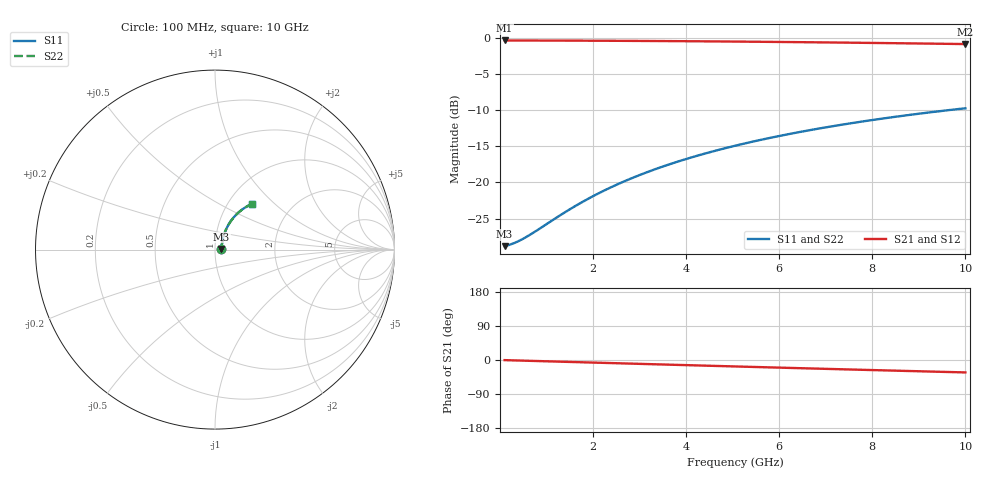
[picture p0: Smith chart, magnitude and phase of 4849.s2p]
# Hz S RI R 50.00
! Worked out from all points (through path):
!   100 points, 100 MHz to 10 GHz, reference 50 ohm
!   highest |S21| = -0.32 dB at 100 MHz (marker M1); lowest = -0.8 dB at 10 GHz (marker M2)
!   group delay of S21, straight-line fit = 9.13 ps
!   lowest |S11| = -28.8 dB at 100 MHz (marker M3), VSWR 1.08, Z = 53.7 + j0.362 ohm
!   |S11| at or under -10 dB: start of sweep to 9.608 GHz
!   |S22| runs from -28.8 to -9.7 dB; largest |S21 - S12| = 0
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1e8  0.036 0.00336  0.964 -0.00573  0.964 -0.00573  0.036 0.00336
2e8  0.0363 0.00672  0.9637 -0.0115  0.9637 -0.0115  0.0363 0.00672
3e8  0.0366 0.0101  0.9634 -0.0172  0.9634 -0.0172  0.0366 0.0101
4e8  0.0369 0.0134  0.9631 -0.0229  0.9631 -0.0229  0.0369 0.0134
5e8  0.0372 0.0168  0.9628 -0.0286  0.9628 -0.0286  0.0372 0.0168
7e8  0.0378 0.0234  0.962 -0.04  0.962 -0.04  0.0378 0.0234
1.4e9  0.0412 0.0466  0.9582 -0.0798  0.9582 -0.0798  0.0412 0.0466
1.8e9  0.044 0.0597  0.9551 -0.1024  0.9551 -0.1024  0.044 0.0597
2.2e9  0.0473 0.0726  0.9513 -0.1248  0.9513 -0.1248  0.0473 0.0726
2.6e9  0.0512 0.0853  0.9468 -0.147  0.9468 -0.147  0.0512 0.0853
3e9  0.0557 0.0978  0.9417 -0.169  0.9417 -0.169  0.0557 0.0978
3.4e9  0.0607 0.11  0.9359 -0.1907  0.9359 -0.1907  0.0607 0.11
3.8e9  0.0663 0.122  0.9295 -0.2122  0.9295 -0.2122  0.0663 0.122
4.2e9  0.0724 0.1336  0.9224 -0.2333  0.9224 -0.2333  0.0724 0.1336
4.6e9  0.0791 0.1448  0.9148 -0.2541  0.9148 -0.2541  0.0791 0.1448
5.1e9  0.088 0.1584  0.9044 -0.2796  0.9044 -0.2796  0.088 0.1584
5.9e9  0.1038 0.1788  0.886 -0.3191  0.886 -0.3191  0.1038 0.1788
6.7e9  0.1212 0.1975  0.8657 -0.3569  0.8657 -0.3569  0.1212 0.1975
7.5e9  0.14 0.2143  0.8435 -0.3928  0.8435 -0.3928  0.14 0.2143
8.4e9  0.1626 0.2309  0.8167 -0.431  0.8167 -0.431  0.1626 0.2309
9.2e9  0.1837 0.2435  0.7914 -0.4629  0.7914 -0.4629  0.1837 0.2435
1e10  0.2054 0.2541  0.765 -0.4928  0.765 -0.4928  0.2054 0.2541
